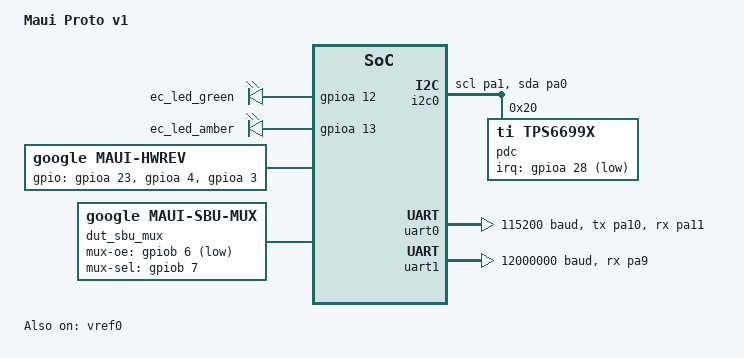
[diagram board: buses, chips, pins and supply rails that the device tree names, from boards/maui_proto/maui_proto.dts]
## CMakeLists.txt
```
# Copyright 2025 The ChromiumOS Authors
# Use of this source code is governed by a BSD-style license that can be
# found in the LICENSE file.

cmake_minimum_required(VERSION 3.20.0)

list(APPEND BOARD_ROOT ${CMAKE_CURRENT_SOURCE_DIR})
if(NOT DEFINED BOARD)
	set(BOARD maui_proto_3507)
endif()

# Application-only devicetree additions live in boards/<board>.overlay. Zephyr
# applies that file automatically only when DTC_OVERLAY_FILE is unset; the
# MCUboot build flow sets it (app_mcuboot.overlay), so add it explicitly then.
set(MAUI_APP_OVERLAY ${CMAKE_CURRENT_SOURCE_DIR}/boards/${BOARD}.overlay)
if(DEFINED DTC_OVERLAY_FILE AND EXISTS ${MAUI_APP_OVERLAY})
	list(APPEND EXTRA_DTC_OVERLAY_FILE ${MAUI_APP_OVERLAY})
endif()

find_package(Zephyr REQUIRED HINTS $ENV{ZEPHYR_BASE})
project(maui)

# Machine-to-machine RPC (second CDC-ACM interface). The core lives in
# src/rpc/rpc.c; each functional domain adds its own src/rpc/rpc_<domain>.c.
if(CONFIG_MAUI_RPC)
	list(APPEND CMAKE_MODULE_PATH ${ZEPHYR_BASE}/modules/nanopb)
	include(nanopb)
	zephyr_nanopb_sources(app proto/maui_rpc.proto)
	zephyr_linker_sources(ROM_SECTIONS src/rpc/rpc_handlers.ld)
	target_sources(app PRIVATE
		src/rpc/rpc.c
		src/rpc/rpc_system.c
	)
	target_sources_ifdef(CONFIG_MAUI_RPC_H2H app PRIVATE src/rpc/rpc_h2h.c)
endif()

# Safely override missing IOMUX definition for 48-pin package in the standard GPIO driver (only for maui_proto_5117)
if(BOARD STREQUAL "maui_proto_5117")
	zephyr_compile_definitions(IOMUX_PINCM60=IOMUX_PINCM59)
endif()

if(CONFIG_ADC_MSPM0_ADC12_WIP)
	target_sources(app PRIVATE drivers/adc_mspm0_adc12_wip.c)
endif()

if(CONFIG_ADC)
	target_sources(app PRIVATE src/adc.c)
endif()

# IT82002-only subsystems: BBRAM-backed boot health and the NVS key-value
# store. Gated so the MSPM0 boards, which have neither, do not build them.
if(CONFIG_MAUI_HEALTH)
	target_sources(app PRIVATE src/health.c)
endif()

if(CONFIG_MAUI_NVS_STORAGE)
	target_sources(app PRIVATE src/nvs_storage.c)
endif()

if(CONFIG_MAUI_HOST_MUX)
	target_sources(app PRIVATE src/host_mux.c)
endif()

if(CONFIG_MAUI_H2H_FLASH)
	target_sources(app PRIVATE src/h2h_flash.c)
endif()

target_sources(app PRIVATE
	src/bypass.c
	src/commands.c
	src/gpio.c
	src/gpio_shell.c
	src/hwrev.c
	src/led.c
	src/main.c
	src/sbu_mux.c
	src/tps6699x.c
	src/tps6699x_fwup.c
	src/usb_init.c
	src/utils.c
)
```

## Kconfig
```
# Copyright 2026 The ChromiumOS Authors
# Use of this source code is governed by a BSD-style license that can be
# found in the LICENSE file.

config PDC_DEBUG
	bool "Enable debug messages from PDC"
	depends on UART_INTERRUPT_DRIVEN

config TPS6699X_INTERRUPTS
	bool "Enable TPS6699X interrupt handling"
	default n

choice SBU_MUX_TYPE
	bool "Type of mux for SBU lanes"

config SBU_MUX_TYPE_PDC
	bool "PDC as SBU lanes mux"

config SBU_MUX_TYPE_GPIO
	bool "GPIO as SBU lanes mux"

endchoice

config SBU_MUX_INIT_DELAY
	int "Delay between bootup and polling in milliseconds"
	default 300

config SBU_MUX_PERIOD
	int "Period of reading the SBU lanes in milliseconds"
	default 100

config HOST_MUX_INIT_DELAY
	int "Delay between bootup and polling in milliseconds"
	default 10

config HOST_MUX_PERIOD
	int "Period of reading the Host CC lanes in milliseconds"
	default 20

config HOST_MUX_HIGH_THRESH
	int "Lower voltage threshold to treat signal as high (millivolts)"
	default 200

config HOST_MUX_SEL_INVERTED
	bool "USB3 host mux SEL polarity is inverted"
	default y if BOARD_MAUI_V1P2_IT82002
	default y if BOARD_MAUI_V2P0_IT82002
	help
	  By default USB3_MUX_HOST_SEL is driven low for CC1 (normal) and high
	  for CC2 (flipped) orientation. Enable this on boards where the mux
	  is wired the other way round, so CC1 drives SEL high and CC2 drives
	  it low. maui_v1p2_it82002 needs this (verified on hardware).

config MAUI_HOST_MUX
	bool "Automatic USB host mux / hub control"
	default y
	help
	  Polls the Host CC lanes and drives HUB_RESET_L and the USB3 host mux
	  select/output-enable lines accordingly.

	  On maui_v1p2_it82002 the EC's own USB device reaches the host through
	  that hub, so a mis-detected CC state also takes down the console and
	  the firmware-update path. Recovery then needs the RO/RW bootloaders,
	  which do not run this module.

config MAUI_H2H_FLASH
	bool "H2H bridge (PL27A1) SPI flash access"
	default y if BOARD_MAUI_V1P2_IT82002
	default y if BOARD_MAUI_V2P0_IT82002
	depends on SPI
	help
	  Lets the MCU take over the PL27A1 H2H bridge's SPI flash (holding the
	  bridge in reset and switching the flash mux) and adds the h2h_flash
	  shell commands. Only boards with the EC-side SPI bus and flash mux
	  wired up support this.

config GPIO_INIT_PRIORITY
	int "GPIO subsystem init priority"
	default 89

config MAUI_HEALTH
	bool "Boot health monitoring, crashloop counter and ETWD reset"
	default y if SOC_IT82002AW
	help
	  Boot-target selection and the crashloop counter in BBRAM, the ETWD
	  hardware reset used by 'reboot'/'reset', and the 'health' shell
	  command group.

	  Only maui_v1p2_it82002 has the BBRAM and the 3-stage bootloader chain
	  this depends on; the MSPM0 boards fall back to sys_reboot().

config MAUI_NVS_STORAGE
	bool "NVS-backed persistent storage (serial number, boot target)"
	default y if SOC_IT82002AW
	depends on NVS
	help
	  Backs the 'serial get'/'serial set' shell commands and the USB serial
	  number reported by all three boot stages.

	  Requires a 'storage_partition' node, which only maui_v1p2_it82002
	  defines.

config MAUI_HEALTH_FLASH_DIAGNOSTICS
	bool "Enable destructive flash-protection diagnostics in the health shell"
	depends on MAUI_HEALTH && SOC_IT82002AW
	default y
	help
	  Adds 'health test_flash_protect', 'health lock_eplr' and
	  'health probe_eplr'.

	  These are bring-up tools that manipulate hardware write protection
	  directly. test_flash_protect deliberately erases and rewrites
	  bootloader sectors to prove the hardware blocks it; if protection is
	  ever not armed, that attack succeeds and destroys both bootloaders,
	  leaving the board recoverable only with an external programmer. It
	  does check the EWPR registers and abort first, but that check is only
	  as good as our understanding of the silicon.

	  Turn this off for production images. 'health status' stays available
	  and reports the same protection state non-destructively.

config MAUI_H2H_SPI_FREQUENCY
	int "SPI clock for the Prolific PL27A1 H2H flash (Hz)"
	default 12000000
	help
	  Must be an exact divisor (/1, /2 ... /16) of the SSPI source clock
	  on IT8xxx2, otherwise transfers fail with -ENOTSUP.
	  TODO: 12 MHz is the conservative choice. Try 24 MHz on real hardware
	  (signal integrity of the mux path); it would shorten program and
	  verify by roughly 10% for a 1 MB image.

menuconfig MAUI_RPC
	bool "Machine-to-machine RPC over a second USB CDC-ACM interface"
	select NANOPB
	select COBS
	select RING_BUFFER
	help
	  Exposes a second CDC-ACM interface ("Maui RPC") that carries
	  COBS-framed Nanopb messages defined in proto/maui_rpc.proto, for
	  host automation and maui-flash (go/maui-ite-design). Needs a
	  'cdc_acm_uart1' devicetree node, the nanopb west module,
	  USB_DEVICE_STACK_NEXT and UART_INTERRUPT_DRIVEN.

if MAUI_RPC

config MAUI_RPC_RX_BUF_SIZE
	int "RX ring buffer size"
	default 16384
	help
	  Bytes buffered between the USB callback and the RPC thread. Large
	  enough for several maximum-size frames so the host can pipeline
	  requests while a handler (e.g. a flash write) is running.

config MAUI_RPC_TX_BUF_SIZE
	int "TX ring buffer size"
	default 2048

config MAUI_RPC_TX_TIMEOUT_MS
	int "Give up sending after the host stops reading for this long (ms)"
	default 1000

config MAUI_RPC_STACK_SIZE
	int "RPC thread stack size"
	default 3072

config MAUI_RPC_THREAD_PRIORITY
	int "RPC thread priority"
	default 10

config MAUI_RPC_H2H
	bool "RPC h2h domain: read and program the PL27A1 bridge SPI flash"
	default y
	depends on MAUI_H2H_FLASH
	select CRC
	help
	  H2hBegin/Write/Finish, H2hReadBegin/Read/ReadEnd, H2hAbort and
	  H2hInfo requests, used by 'maui-flash h2h'. See the h2h section of
	  proto/maui_rpc.proto.

config MAUI_RPC_H2H_IDLE_TIMEOUT_MS
	int "Release the H2H SPI bus after an idle session (ms)"
	depends on MAUI_RPC_H2H
	default 10000
	help
	  If the host stops sending requests in the middle of an H2H read or
	  flashing session (e.g. it crashed), the session is ended and the SPI
	  flash is handed back to the PL27A1 after this long.

module = MAUI_RPC
module-str = maui_rpc
source "subsys/logging/Kconfig.template.log_config"

endif # MAUI_RPC

config MAUI_BOARD_NAME
	string "Maui board name"
	default "Maui"
	help
	  Board name used by USB device name

source "Kconfig.zephyr"
```

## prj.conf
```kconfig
# Copyright 2025 The ChromiumOS Authors
# Use of this source code is governed by a BSD-style license that can be
# found in the LICENSE file.

CONFIG_GPIO=y

CONFIG_I2C=y
CONFIG_ADC=y
# enable logs
CONFIG_LOG=y
# enable shell
CONFIG_SHELL=y
CONFIG_SHELL_TAB=y
CONFIG_SHELL_TAB_AUTOCOMPLETION=y
CONFIG_SHELL_BACKEND_SERIAL_INTERRUPT_DRIVEN=y
CONFIG_SHELL_BACKEND_SERIAL_RX_RING_BUFFER_SIZE=256
CONFIG_SHELL_PROMPT_UART="maui$ "
CONFIG_I2C_SHELL=y
# enable state machine framework
#CONFIG_SMF=y
# enable LED API
CONFIG_LED=y
# enable system reboot
CONFIG_REBOOT=y

CONFIG_SERIAL=y
CONFIG_CONSOLE=y
CONFIG_UART_CONSOLE=y
CONFIG_CLOCK_CONTROL=y

CONFIG_REGULATOR=y # This should have been selected by adc driver

CONFIG_LOG_BUFFER_SIZE=2048

# Enable Base64 for TPS FW update
CONFIG_BASE64=y

CONFIG_SBU_MUX_TYPE_PDC=y

CONFIG_TPS6699X_INTERRUPTS=y
```

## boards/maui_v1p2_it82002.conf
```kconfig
# Copyright 2026 The ChromiumOS Authors
# Use of this source code is governed by a BSD-style license that can be
# found in the LICENSE file.

# Application-only configuration for maui_v1p2_it82002.
#
# Zephyr merges <app>/boards/<board>.conf only when building THIS application
# (firmware/), so nothing here leaks into the MCUboot RO/RW Bootloader builds
# the way board defconfig entries do. Only genuine hardware/SoC defaults that
# every image on this board needs belong in
# boards/maui_v1p2_it82002/maui_v1p2_it82002_defconfig.

# Peripherals used by the Application only. Leaving these in the board
# defconfig pulled I2C into the bootloaders, which explicitly disable it, and
# produced "I2C was assigned the value n but got the value y" Kconfig warnings.
CONFIG_GPIO_GET_CONFIG=y

CONFIG_ADC=y
CONFIG_ADC_ITE_IT8XXX2=y
CONFIG_SPI=y
# CRC-32 of the H2H (PL27A1) SPI flash contents, used to verify programming.
CONFIG_CRC=y
CONFIG_SENSOR=y
CONFIG_TMP112=y
CONFIG_WATCHDOG=y

# USB device_next stack. The bootloaders cannot use it: MCUboot's
# CONFIG_BOOT_SERIAL_CDC_ACM does "select USB_DEVICE_STACK" (the legacy stack)
# unconditionally and has no device_next backend, so enabling both stacks in a
# bootloader build results in duplicate CDC-ACM device definitions.
CONFIG_USB_DEVICE_STACK_NEXT=y
CONFIG_UDC_IT82XX2=y
CONFIG_USBD_CDC_ACM_CLASS=y
CONFIG_USBD_CDC_ACM_BUF_POOL=y
CONFIG_USBD_THREAD_STACK_SIZE=1024
CONFIG_UART_LINE_CTRL=y
CONFIG_CDC_ACM_SERIAL_INITIALIZE_AT_BOOT=n

# Shell runs over the CDC-ACM console, so hold output until a host opens the
# port. The bootloaders have no shell, hence this is not a board default.
CONFIG_SHELL_BACKEND_SERIAL_CHECK_DTR=y

CONFIG_SYSTEM_WORKQUEUE_STACK_SIZE=2048
CONFIG_IDLE_STACK_SIZE=1024

# Machine-to-machine RPC on the second CDC-ACM interface ("Maui RPC", added by
# boards/maui_v1p2_it82002.overlay).
CONFIG_MAUI_RPC=y

CONFIG_MAUI_BOARD_NAME="Maui v1p2"
```

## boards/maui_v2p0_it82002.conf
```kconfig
# Copyright 2026 The ChromiumOS Authors
# Use of this source code is governed by a BSD-style license that can be
# found in the LICENSE file.

# Application-only configuration for maui_v2p0_it82002.
#
# Zephyr merges <app>/boards/<board>.conf only when building THIS application
# (firmware/), so nothing here leaks into the MCUboot RO/RW Bootloader builds
# the way board defconfig entries do. Only genuine hardware/SoC defaults that
# every image on this board needs belong in
# boards/maui_v2p0_it82002/maui_v2p0_it82002_defconfig.

# Peripherals used by the Application only. Leaving these in the board
# defconfig pulled I2C into the bootloaders, which explicitly disable it, and
# produced "I2C was assigned the value n but got the value y" Kconfig warnings.
CONFIG_GPIO_GET_CONFIG=y

CONFIG_ADC=y
CONFIG_ADC_ITE_IT8XXX2=y
CONFIG_SPI=y
# CRC-32 of the H2H (PL27A1) SPI flash contents, used to verify programming.
CONFIG_CRC=y
CONFIG_SENSOR=y
CONFIG_TMP112=y
CONFIG_WATCHDOG=y

# USB device_next stack. The bootloaders cannot use it: MCUboot's
# CONFIG_BOOT_SERIAL_CDC_ACM does "select USB_DEVICE_STACK" (the legacy stack)
# unconditionally and has no device_next backend, so enabling both stacks in a
# bootloader build results in duplicate CDC-ACM device definitions.
CONFIG_USB_DEVICE_STACK_NEXT=y
CONFIG_UDC_IT82XX2=y
CONFIG_USBD_CDC_ACM_CLASS=y
CONFIG_USBD_CDC_ACM_BUF_POOL=y
CONFIG_USBD_THREAD_STACK_SIZE=1024
CONFIG_UART_LINE_CTRL=y
CONFIG_CDC_ACM_SERIAL_INITIALIZE_AT_BOOT=n

# Shell runs over the CDC-ACM console, so hold output until a host opens the
# port. The bootloaders have no shell, hence this is not a board default.
CONFIG_SHELL_BACKEND_SERIAL_CHECK_DTR=y

CONFIG_SYSTEM_WORKQUEUE_STACK_SIZE=2048
CONFIG_IDLE_STACK_SIZE=1024

# Machine-to-machine RPC on the second CDC-ACM interface ("Maui RPC", added by
# boards/maui_v2p0_it82002.overlay).
CONFIG_MAUI_RPC=y

CONFIG_MAUI_BOARD_NAME="Maui v2p0"
```

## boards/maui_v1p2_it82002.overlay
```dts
/* Copyright 2026 The ChromiumOS Authors
 * Use of this source code is governed by a BSD-style license that can be
 * found in the LICENSE file.
 */

/*
 * Application-only devicetree additions for maui_v1p2_it82002.
 *
 * Kept out of the board .dts because the MCUboot RO/RW bootloaders build from
 * that .dts too and must expose only their single serial-recovery interface.
 * firmware/CMakeLists.txt applies this overlay to every Application build.
 */

/* Interface strings let host tools tell the two ports apart (pyserial
 * ListPortInfo.interface) without relying on enumeration order.
 */
&cdc_acm_uart0 {
	label = "Maui Console";
};

&zephyr_udc0 {
	/* Machine-to-machine RPC channel (go/maui-ite-design). */
	cdc_acm_uart1: cdc_acm_uart1 {
		compatible = "zephyr,cdc-acm-uart";
		label = "Maui RPC";
		rx-fifo-size = <2048>;
	};
};
```

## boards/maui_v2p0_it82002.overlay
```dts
/* Copyright 2026 The ChromiumOS Authors
 * Use of this source code is governed by a BSD-style license that can be
 * found in the LICENSE file.
 */

/*
 * Application-only devicetree additions for maui_v2p0_it82002.
 *
 * Kept out of the board .dts because the MCUboot RO/RW bootloaders build from
 * that .dts too and must expose only their single serial-recovery interface.
 * firmware/CMakeLists.txt applies this overlay to every Application build.
 */

/* Interface strings let host tools tell the two ports apart (pyserial
 * ListPortInfo.interface) without relying on enumeration order.
 */
&cdc_acm_uart0 {
	label = "Maui Console";
};

&zephyr_udc0 {
	/* Machine-to-machine RPC channel (go/maui-ite-design). */
	cdc_acm_uart1: cdc_acm_uart1 {
		compatible = "zephyr,cdc-acm-uart";
		label = "Maui RPC";
		rx-fifo-size = <2048>;
	};
};
```

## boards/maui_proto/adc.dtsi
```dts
#include <zephyr/dt-bindings/adc/adc.h>

&adc0 {
	compatible = "ti,mspm0-adc12-wip";
	status = "okay";
	#address-cells = <1>;
	#size-cells = <0>;

	pinctrl-0 = <&analog_pb20 &analog_pa22>;
	pinctrl-names = "default";
	ti,clk-range = <6>;
	ti,clk-divider = <1>;

	clocks = <&ulpclk MSPM0_CLOCK_ULPCLK>;
	vref-mv = <3300>;
	max_result_reg = <12>;

	adc_usb_host_cc1: channel@6 {
		reg = <6>;
		zephyr,gain = "ADC_GAIN_1";
		zephyr,reference = "ADC_REF_VDD_1";
		zephyr,vref-mv = <3300>;
		zephyr,acquisition-time = <ADC_ACQ_TIME_DEFAULT>;
		zephyr,resolution = <12>;
	};

	adc_usb_host_cc2: channel@7 {
		reg = <7>;
		zephyr,gain = "ADC_GAIN_1";
		zephyr,reference = "ADC_REF_VDD_1";
		zephyr,vref-mv = <3300>;
		zephyr,acquisition-time = <ADC_ACQ_TIME_DEFAULT>;
		zephyr,resolution = <12>;
	};

	adc_temp_sensor: channel@b {
		reg = <0xb>;
		zephyr,gain = "ADC_GAIN_1";
		zephyr,reference = "ADC_REF_VDD_1";
		zephyr,vref-mv = <3300>;
		zephyr,acquisition-time =
			<ADC_ACQ_TIME(ADC_ACQ_TIME_TICKS, 200)>;
		zephyr,resolution = <12>;
	};
};

&adc1 {
	compatible = "ti,mspm0-adc12-wip";
	status = "okay";
	#address-cells = <1>;
	#size-cells = <0>;
	clocks = <&ulpclk MSPM0_CLOCK_ULPCLK>;

	max_result_reg = <12>;
	pinctrl-0 = <&analog_pa16 &analog_pa17 &analog_pa18 &analog_pb17
		     &analog_pb18 &analog_pb19 &analog_pa21>;
	pinctrl-names = "default";
	ti,clk-range = <6>;
	ti,clk-divider = <1>;
	vref-mv = <3300>;

	adc_sbu1_det: channel@1 {
		reg = <1>;
		zephyr,gain = "ADC_GAIN_1";
		zephyr,reference = "ADC_REF_VDD_1";
		zephyr,vref-mv = <3300>;
		zephyr,acquisition-time = <ADC_ACQ_TIME_DEFAULT>;
		zephyr,resolution = <12>;
	};
	adc_sbu2_det: channel@2 {
		reg = <2>;
		zephyr,gain = "ADC_GAIN_1";
		zephyr,reference = "ADC_REF_VDD_1";
		zephyr,vref-mv = <3300>;
		zephyr,acquisition-time = <ADC_ACQ_TIME_DEFAULT>;
		zephyr,resolution = <12>;
	};
	adc_bsl: channel@3 {
		reg = <3>;
		zephyr,gain = "ADC_GAIN_1";
		zephyr,reference = "ADC_REF_VDD_1";
		zephyr,vref-mv = <3300>;
		zephyr,acquisition-time = <ADC_ACQ_TIME_DEFAULT>;
		zephyr,resolution = <12>;
	};
	adc_ppvar_usb_chg_vbus: channel@4 {
		reg = <4>;
		zephyr,gain = "ADC_GAIN_1";
		zephyr,reference = "ADC_REF_VDD_1";
		zephyr,vref-mv = <3300>;
		zephyr,acquisition-time = <ADC_ACQ_TIME_DEFAULT>;
		zephyr,resolution = <12>;
	};
	adc_ppvar_usb_dut_vbus: channel@5 {
		reg = <5>;
		zephyr,gain = "ADC_GAIN_1";
		zephyr,reference = "ADC_REF_VDD_1";
		zephyr,vref-mv = <3300>;
		zephyr,acquisition-time = <ADC_ACQ_TIME_DEFAULT>;
		zephyr,resolution = <12>;
	};
	adc_pp5000_usb_host_vbus: channel@6 {
		reg = <6>;
		zephyr,gain = "ADC_GAIN_1";
		zephyr,reference = "ADC_REF_VDD_1";
		zephyr,vref-mv = <3300>;
		zephyr,acquisition-time = <ADC_ACQ_TIME_DEFAULT>;
		zephyr,resolution = <12>;
	};
	adc_pp5000: channel@7 {
		reg = <7>;
		zephyr,gain = "ADC_GAIN_1";
		zephyr,reference = "ADC_REF_VDD_1";
		zephyr,vref-mv = <3300>;
		zephyr,acquisition-time = <ADC_ACQ_TIME_DEFAULT>;
		zephyr,resolution = <12>;
	};
};
```

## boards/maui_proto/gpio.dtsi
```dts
/* Copyright 2026 The ChromiumOS Authors
 * Use of this source code is governed by a BSD-style license that can be
 * found in the LICENSE file.
 */

#include "gpio_ext.h"

/ {
	gpios {
		compatible = "google,maui-gpios";

		// Outputs

		h2h_reset: h2h_reset_l {
			gpios = <&gpioa 31 (GPIO_OUTPUT_INACTIVE | GPIO_ACTIVE_LOW)>;
		};

		usb2_mux_hub_oe_l: usb2_mux_hub_oe_l {
			gpios = <&gpiob 6 (GPIO_OUTPUT_ACTIVE | GPIO_ACTIVE_LOW)>;
		};

		usb2_mux_hub_sel: usb2_mux_hub_sel {
			gpios = <&gpiob 7 (GPIO_OUTPUT_INACTIVE | GPIO_ACTIVE_HIGH)>;
		};

		usb3_mux_dut_oe: usb3_mux_dut_oe_r_l {
			gpios = <&gpiob 8 (GPIO_OUTPUT_ACTIVE | GPIO_ACTIVE_LOW)>;
		};

		usb3_mux_dut_sel: usb3_mux_dut_sel_r {
			gpios = <&gpiob 9 (GPIO_OUTPUT_INACTIVE | GPIO_ACTIVE_HIGH)>;
		};

		usb2_mux_dut_oe: usb2_mux_dut_oe_r_l {
			gpios = <&gpiob 10 (GPIO_OUTPUT_ACTIVE | GPIO_ACTIVE_LOW)>;
		};

		usb2_mux_dut_sel: usb2_mux_dut_sel_r {
			gpios = <&gpiob 11 (GPIO_OUTPUT_INACTIVE | GPIO_ACTIVE_HIGH)>;
		};

		pp5000_cutoff: pp5000_cutoff {
			gpios = <&gpiob 12 (GPIO_OUTPUT_INACTIVE | GPIO_ACTIVE_HIGH)>;
		};

		usb3_mux_hub_oe_l: usb3_mux_hub_oe_l {
			gpios = <&gpiob 15 (GPIO_OUTPUT_ACTIVE | GPIO_ACTIVE_LOW)>;
		};

		usb3_mux_hub_sel: usb3_mux_hub_sel {
			gpios = <&gpiob 16 (GPIO_OUTPUT_INACTIVE | GPIO_ACTIVE_HIGH)>;
		};

		usb3_mux_host_oe: usb3_mux_host_oe_r_l {
			gpios = <&gpiob 21 (GPIO_OUTPUT_INACTIVE | GPIO_ACTIVE_LOW)>;
		};

		usb3_mux_host_sel: usb3_mux_host_sel_r {
			gpios = <&gpiob 22 (GPIO_OUTPUT_INACTIVE | GPIO_ACTIVE_HIGH)>;
		};

		hub_reset: hub_reset_l {
			gpios = <&gpiob 26 (GPIO_OUTPUT_INACTIVE | GPIO_ACTIVE_LOW)>;
		};

		// Inputs

		h2h_host_access_led_l: h2h_host_access_led_l {
			gpios = <&gpioa 7 (GPIO_INPUT | GPIO_ACTIVE_LOW)>;
		};

		h2h_dut_access_led_l: h2h_dut_access_led_l {
			gpios = <&gpioa 8 (GPIO_INPUT | GPIO_ACTIVE_LOW)>;
		};

		hub_ss_up_status: hub_ss_up_status {
			gpios = <&gpioa 24 (GPIO_INPUT | GPIO_ACTIVE_HIGH)>;
		};

		hub_hs_up_status: hub_hs_up_status {
			gpios = <&gpioa 25 (GPIO_INPUT | GPIO_ACTIVE_HIGH)>;
		};

		hub_ss_suspend: hub_ss_suspend {
			gpios = <&gpioa 29 (GPIO_INPUT | GPIO_ACTIVE_HIGH)>;
		};

		pdc_hi_priority_irq_l: pdc_hi_priority_irq_l {
			gpios = <&gpioa 30 (GPIO_INPUT | GPIO_ACTIVE_LOW)>;
		};

		pp3300_ec_status: pp3300_ec_status {
			gpios = <&gpiob 0 (GPIO_INPUT | GPIO_ACTIVE_HIGH)>;
		};

		h2h_dut_host_access_led_l: h2h_dut_host_access_led_l {
			gpios = <&gpiob 1 (GPIO_INPUT | GPIO_ACTIVE_LOW)>;
		};

		pdc_gpio8: pdc_gpio8 {
			gpios = <&gpiob 2 (GPIO_INPUT | GPIO_ACTIVE_HIGH)>;
		};

		pdc_gpio9: pdc_gpio9 {
			gpios = <&gpiob 3 (GPIO_INPUT | GPIO_ACTIVE_HIGH)>;
		};

		pdc_gpio10: pdc_gpio10 {
			gpios = <&gpiob 4 (GPIO_INPUT | GPIO_ACTIVE_HIGH)>;
		};

		pdc_gpio11: pdc_gpio11 {
			gpios = <&gpiob 5 (GPIO_INPUT | GPIO_ACTIVE_HIGH)>;
		};

		pp1200_pg_od: pp1200_pg_od {
			gpios = <&gpiob 13 (GPIO_INPUT | GPIO_PULL_UP | GPIO_ACTIVE_HIGH)>;
		};

		pp3300_pg_od: pp3300_pg_od {
			gpios = <&gpiob 14 (GPIO_INPUT | GPIO_PULL_UP | GPIO_ACTIVE_HIGH)>;
		};

		pp1100_pg_od: pp1100_pg_od {
			gpios = <&gpiob 23 (GPIO_INPUT | GPIO_PULL_UP | GPIO_ACTIVE_HIGH)>;
		};

		hub_hs_suspend: hub_hs_suspend {
			gpios = <&gpiob 25 (GPIO_INPUT | GPIO_ACTIVE_HIGH)>;
		};
	};
};
```

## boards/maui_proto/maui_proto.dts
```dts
/* Copyright 2025 The ChromiumOS Authors
 * Use of this source code is governed by a BSD-style license that can be
 * found in the LICENSE file.
 */

/dts-v1/;

#include <ti/mspm0/g/mspm0g3507.dtsi>
#include <ti/mspm0/g/mspm0g1x0x_g3x0x-pinctrl.dtsi>

#include <zephyr/dt-bindings/clock/mspm0_clock.h>
#include <zephyr/dt-bindings/gpio/gpio.h>
#include <zephyr/dt-bindings/input/input-event-codes.h>

#include "adc.dtsi"
#include "gpio.dtsi"

/ {
	model = "Maui Proto v1";
	compatible = "ti,mspm0g3507";

	chosen {
		zephyr,sram = &sram0;
		zephyr,flash = &flash0;
		zephyr,console = &uart0;
		zephyr,shell-uart = &uart0;
	};

	leds: leds {
		compatible = "gpio-leds";

		ec_led_green: ec_led_green {
			gpios = <&gpioa 12 GPIO_ACTIVE_HIGH>;
		};
		ec_led_amber: ec_led_amber {
			gpios = <&gpioa 13 GPIO_ACTIVE_HIGH>;
		};
	};

	hwrev {
		compatible = "google,maui-hwrev";
		gpios = <&gpioa 23 GPIO_ACTIVE_HIGH>,
				<&gpioa 4 GPIO_ACTIVE_HIGH>,
				<&gpioa 3 GPIO_ACTIVE_HIGH>;
	};

	dut_sbu_mux: dut-sbu-mux {
		compatible = "google,maui-sbu-mux";
		status = "okay";

		pdc = <&pdc>;
		mux-oe-gpios = <&gpiob 6 GPIO_ACTIVE_LOW>;
		mux-sel-gpios = <&gpiob 7 GPIO_ACTIVE_HIGH>;
	};
};

&cpu0 {
	clock-frequency = <DT_FREQ_M(80)>;
};

&ulpclk {
	clock-frequency = <DT_FREQ_M(40)>;
	clk-div = <2>;
};

&mclk {
	clock-frequency = <DT_FREQ_M(80)>;
	clocks = <&hsclk 0>;
};

&hsclk {
	clocks = <&syspll2x 0>;
	status = "okay";
};

&syspll2x {
	status = "okay";
};

&flash0 {
	status = "okay";
};

&pinctrl {
	status = "okay";
};

&gpioa {
	status = "okay";
};

&gpiob {
	status = "okay";
};

&i2c0 {
	pinctrl-0 = <&i2c0_scl_pa1 &i2c0_sda_pa0>;
	pinctrl-names = "default";
	status = "okay";

	pdc: tps6699x@20 {
		compatible = "ti,tps6699x";
		reg = <0x20>;
		irq-gpios = <&gpioa 28 (GPIO_PULL_UP | GPIO_ACTIVE_LOW)>;
	};
};

&uart0 {
	status = "okay";

	current-speed = <115200>;
	pinctrl-0 = <&uart0_tx_pa10 &uart0_rx_pa11>;
	pinctrl-names = "default";
};

&uart1 {
	status = "okay";
	current-speed = <12000000>;
	pinctrl-0 = <&uart1_rx_pa9>;
	pinctrl-names = "default";
};

&vref0 {
	status = "okay";
};
```

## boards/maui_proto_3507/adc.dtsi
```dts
/* Copyright 2026 The ChromiumOS Authors
 * Use of this source code is governed by a BSD-style license that can be
 * found in the LICENSE file.
 */

#include <zephyr/dt-bindings/adc/adc.h>

&adc0 {
	compatible = "ti,mspm0-adc12-wip";
	status = "okay";
	#address-cells = <1>;
	#size-cells = <0>;

	pinctrl-0 = <&analog_pb20 &analog_pa22>;
	pinctrl-names = "default";
	ti,clk-range = <6>;
	ti,clk-divider = <1>;

	clocks = <&ulpclk MSPM0_CLOCK_ULPCLK>;
	vref-mv = <3300>;
	max_result_reg = <12>;

	adc_usb_host_cc1: channel@6 {
		reg = <6>;
		zephyr,gain = "ADC_GAIN_1";
		zephyr,reference = "ADC_REF_VDD_1";
		zephyr,vref-mv = <3300>;
		zephyr,acquisition-time = <ADC_ACQ_TIME_DEFAULT>;
		zephyr,resolution = <12>;
	};

	adc_usb_host_cc2: channel@7 {
		reg = <7>;
		zephyr,gain = "ADC_GAIN_1";
		zephyr,reference = "ADC_REF_VDD_1";
		zephyr,vref-mv = <3300>;
		zephyr,acquisition-time = <ADC_ACQ_TIME_DEFAULT>;
		zephyr,resolution = <12>;
	};

	adc_temp_sensor: channel@b {
		reg = <0xb>;
		zephyr,gain = "ADC_GAIN_1";
		zephyr,reference = "ADC_REF_VDD_1";
		zephyr,vref-mv = <3300>;
		zephyr,acquisition-time =
			<ADC_ACQ_TIME(ADC_ACQ_TIME_TICKS, 200)>;
		zephyr,resolution = <12>;
	};
};

&adc1 {
	compatible = "ti,mspm0-adc12-wip";
	status = "okay";
	#address-cells = <1>;
	#size-cells = <0>;
	clocks = <&ulpclk MSPM0_CLOCK_ULPCLK>;

	max_result_reg = <12>;
	pinctrl-0 = <&analog_pa16 &analog_pa17 &analog_pa18 &analog_pb17
		     &analog_pb18 &analog_pb19 &analog_pa21>;
	pinctrl-names = "default";
	ti,clk-range = <6>;
	ti,clk-divider = <1>;
	vref-mv = <3300>;

	adc_sbu1_det: channel@1 {
		reg = <1>;
		zephyr,gain = "ADC_GAIN_1";
		zephyr,reference = "ADC_REF_VDD_1";
		zephyr,vref-mv = <3300>;
		zephyr,acquisition-time = <ADC_ACQ_TIME_DEFAULT>;
		zephyr,resolution = <12>;
	};
	adc_sbu2_det: channel@2 {
		reg = <2>;
		zephyr,gain = "ADC_GAIN_1";
		zephyr,reference = "ADC_REF_VDD_1";
		zephyr,vref-mv = <3300>;
		zephyr,acquisition-time = <ADC_ACQ_TIME_DEFAULT>;
		zephyr,resolution = <12>;
	};
	adc_bsl: channel@3 {
		reg = <3>;
		zephyr,gain = "ADC_GAIN_1";
		zephyr,reference = "ADC_REF_VDD_1";
		zephyr,vref-mv = <3300>;
		zephyr,acquisition-time = <ADC_ACQ_TIME_DEFAULT>;
		zephyr,resolution = <12>;
	};
	adc_ppvar_usb_chg_vbus: channel@4 {
		reg = <4>;
		zephyr,gain = "ADC_GAIN_1";
		zephyr,reference = "ADC_REF_VDD_1";
		zephyr,vref-mv = <3300>;
		zephyr,acquisition-time = <ADC_ACQ_TIME_DEFAULT>;
		zephyr,resolution = <12>;
	};
	adc_ppvar_usb_dut_vbus: channel@5 {
		reg = <5>;
		zephyr,gain = "ADC_GAIN_1";
		zephyr,reference = "ADC_REF_VDD_1";
		zephyr,vref-mv = <3300>;
		zephyr,acquisition-time = <ADC_ACQ_TIME_DEFAULT>;
		zephyr,resolution = <12>;
	};
	adc_pp5000_usb_host_vbus: channel@6 {
		reg = <6>;
		zephyr,gain = "ADC_GAIN_1";
		zephyr,reference = "ADC_REF_VDD_1";
		zephyr,vref-mv = <3300>;
		zephyr,acquisition-time = <ADC_ACQ_TIME_DEFAULT>;
		zephyr,resolution = <12>;
	};
	adc_pp5000: channel@7 {
		reg = <7>;
		zephyr,gain = "ADC_GAIN_1";
		zephyr,reference = "ADC_REF_VDD_1";
		zephyr,vref-mv = <3300>;
		zephyr,acquisition-time = <ADC_ACQ_TIME_DEFAULT>;
		zephyr,resolution = <12>;
	};
};
```

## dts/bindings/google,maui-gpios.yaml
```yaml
# Copyright 2026 The ChromiumOS Authors
# Use of this source code is governed by a BSD-style license that can be
# found in the LICENSE file.

description: Google MAUI GPIOs

compatible: "google,maui-gpios"

include: base.yaml

child-binding:
  description: |
    List of GPIOs to configure at bootup

  properties:
    gpios:
      type: phandle-array
      description: |
        Definition of GPIO's port and pin number with flags
        supporting setting logic states at bootup
```

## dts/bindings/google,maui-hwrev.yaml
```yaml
# Copyright 2026 The ChromiumOS Authors
# Use of this source code is governed by a BSD-style license that can be
# found in the LICENSE file.

description: Google MAUI Hardware Revision Id

compatible: "google,maui-hwrev"

include: base.yaml

properties:
  gpios:
    type: phandle-array
    required: true
    description: |
      GPIOs used to decode the hardware revision id. Pins should be in
      MSB to LSB order.
```

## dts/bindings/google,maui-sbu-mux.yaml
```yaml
# Copyright 2026 The ChromiumOS Authors
# Use of this source code is governed by a BSD-style license that can be
# found in the LICENSE file.

description: Google MAUI mux for CCD SBU pins

compatible: "google,maui-sbu-mux"

include: base.yaml

properties:
  pdc:
    type: phandle

  mux-oe-gpios:
    type: phandle-array
    description: |
      Mux output enable pin

  mux-sel-gpios:
    type: phandle-array
    description: |
      Mux polarity selection pin

  low-thresh:
    type: int
    default: 700
    description: |
      Upper voltage threshold to threat signal as low

  high-thresh:
    type: int
    default: 2500
    description: |
      Lower voltage threshold to threat signal as high
```

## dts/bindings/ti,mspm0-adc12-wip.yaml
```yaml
# TI MSPM0 Family

# Copyright (c) 2024, Texas Instruments
# Copyright (c) 2025, Linumiz GmbH
# SPDX-License-Identifier: Apache-2.0

description: TI MSPM0 ADC12

compatible: "ti,mspm0-adc12-wip"

include: [adc-controller.yaml, pinctrl-device.yaml]

properties:
  reg:
    required: true

  interrupts:
    required: true

  pinctrl-0:
    required: true

  pinctrl-names:
    required: true

  "#io-channel-cells":
    const: 1

  clocks:
    required: true

  ti,clk-range:
    type: int
    required: true
    enum: [0, 1, 2, 3, 4, 5, 6, 7]
    description: |
      0 - MSP_ADC_CLOCK_RANGE_1TO4
      1 - MSP_ADC_CLOCK_RANGE_4TO8
      2 - MSP_ADC_CLOCK_RANGE_8TO16
      3 - MSP_ADC_CLOCK_RANGE_16TO20
      4 - MSP_ADC_CLOCK_RANGE_20TO24
      5 - MSP_ADC_CLOCK_RANGE_24TO32
      6 - MSP_ADC_CLOCK_RANGE_32TO40
      7 - MSP_ADC_CLOCK_RANGE_40TO48
      ADC clock range.

  ti,clk-divider:
    type: int
    required: true
    enum:
      - 1 # clock is not divided
      - 2
      - 4
      - 8
      - 16
      - 24
      - 32
      - 48

  auto_powerdown:
    type: boolean

  vref-mv:
    type: int
    default: 2500
    description: Voltage reference in mV

  vref:
    type: phandle

  max_result_reg:
    type: int
    required: true
    description: |
      Number of conversion result memory registers available on this ADC instance.
      L-series devices typically have 4 registers (MEMRES0:3), while G-series
      devices typically have 12 registers (MEMRES0:11). This determines the
      maximum number of channels that can be converted in a single sequence.

io-channel-cells:
  - input
```

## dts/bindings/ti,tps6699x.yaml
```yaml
# Copyright 2026 The ChromiumOS Authors
# Use of this source code is governed by a BSD-style license that can be
# found in the LICENSE file.

description: TI TPS6699X Power Delivery Controller

compatible: "ti,tps6699x"

include: [i2c-device.yaml]

properties:
  irq-gpios:
    type: phandle-array
    description: GPIO connected to the interrupt line
```

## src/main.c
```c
/* Copyright 2025 The ChromiumOS Authors
 * Use of this source code is governed by a BSD-style license that can be
 * found in the LICENSE file.
 */

#include "adc.h"
#include "led.h"
#include "usb_init.h"

#ifdef CONFIG_MAUI_HEALTH
#include "health.h"
#endif
#ifdef CONFIG_MAUI_NVS_STORAGE
#include "nvs_storage.h"
#endif
#ifdef CONFIG_MAUI_RPC
#include "rpc/rpc.h"
#endif

#include <zephyr/device.h>
#include <zephyr/drivers/gpio.h>
#include <zephyr/kernel.h>
#include <zephyr/logging/log.h>

LOG_MODULE_REGISTER(main, LOG_LEVEL_INF);

/* 1000 msec = 1 sec */
#define SLEEP_TIME_MS 1000

int main(void)
{
	int ret;

	LOG_INF("Maui Firmware Starting");

#ifdef CONFIG_MAUI_NVS_STORAGE
	(void)nvs_storage_init();
#endif
#ifdef CONFIG_MAUI_HEALTH
	(void)health_init();
#endif

	ret = leds_init();
	if (ret < 0) {
		LOG_ERR("Failed to initialize LEDs (err %d)", ret);
		led_set_pattern(LED_GREEN, LED_PATTERN_BLINK_FAST);
	}

	ret = adcs_init();
	if (ret < 0) {
		LOG_ERR("Failed to initialize ADCs (err %d)", ret);
		led_set_pattern(LED_GREEN, LED_PATTERN_BLINK_FAST);
	}

	ret = init_usb();
	if (ret < 0) {
		LOG_ERR("Failed to initialize USB (err %d)", ret);
		led_set_pattern(LED_GREEN, LED_PATTERN_BLINK_FAST);
	}

#ifdef CONFIG_MAUI_RPC
	ret = rpc_init();
	if (ret < 0) {
		LOG_ERR("Failed to initialize RPC (err %d)", ret);
	}
#endif

	LOG_INF("Maui Firmware Initialized Successfully");

	/*
	 * Nothing further to do on this thread. Everything runs from its own
	 * thread or workqueue from here, and Zephyr is happy for main() to
	 * return.
	 */
	return 0;
}
```

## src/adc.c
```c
/* Copyright 2026 The ChromiumOS Authors
 * Use of this source code is governed by a BSD-style license that can be
 * found in the LICENSE file.
 */

#include "adc.h"

#include <errno.h>
#include <stdbool.h>
#include <stdlib.h>
#include <string.h>

#include <zephyr/devicetree.h>
#include <zephyr/drivers/adc.h>
#include <zephyr/drivers/sensor.h>
#include <zephyr/kernel.h>
#include <zephyr/shell/shell.h>

#ifdef CONFIG_BOARD_MAUI_V2P0_IT82002
#include "gpio.h"
#endif

#if defined(CONFIG_SOC_FAMILY_TI_MSPM0) || defined(CONFIG_SOC_MSPM0G3507) || \
	defined(CONFIG_SOC_MSPM0G5117)
#include <m0p/dl_factoryregion.h>
#endif

// Datasheet for the family specifies this as <-2.1, -1.7>, with
// typical -1.8 mV/'C
#define MSPM0G350X_TSC -1.8
// Value -56 is approximation of (1.0 / MSPM0G350X_TSC * 100)
#define ONE_BY_MSPM0G350X_TSC_INT_APROX -56
// Datasheet for the family specifies this as <27, 33>, with typical 30
#define MSPM0G350X_TSTRIM 30

/*
 * Temperature sensor factory calibration reference voltage:
 * - MSPM0G3507 (Datasheet 8.13): The unit-specific calibration value
 * (TEMP_SENSE0) represents the 12-bit ADC result measured with the 3.3V VDD
 * reference (VRSEL=0h).
 * - MSPM0G5117 (Datasheet 8.14): The unit-specific calibration value
 * (TEMP_SENSE0) represents the 12-bit ADC result measured with the 1.4-V
 * internal VREF (VRSEL=2h, BUFCONFIG=1h).
 */
#if defined(CONFIG_SOC_MSPM0G5117) || defined(CONFIG_BOARD_MAUI_PROTO_5117)
#define FACTORY_TRIM_VREF_MV 1400
#else
#define FACTORY_TRIM_VREF_MV 3300
#endif

LOG_MODULE_REGISTER(adc);

#define DT_ADC_SPEC_PRESENT(node)				\
	ADC_DT_SPEC_STRUCT(DT_PARENT(DT_NODELABEL(node)),	\
	DT_PROP_BY_IDX(DT_NODELABEL(node), reg, 0))

#define DT_ADC_SPEC_ABSENT(node) { 0 }

#define DT_ADC_NODE_FROM_NODELABEL(node)				\
		COND_CODE_1(DT_NODE_EXISTS(DT_NODELABEL(node)),		\
			(DT_ADC_SPEC_PRESENT),				\
			(DT_ADC_SPEC_ABSENT))(node)

static const struct adc_dt_spec adc_channels[] = {
	[ADC_CH_USB_HOST_CC1] = DT_ADC_NODE_FROM_NODELABEL(adc_usb_host_cc1),
	[ADC_CH_USB_HOST_CC2] = DT_ADC_NODE_FROM_NODELABEL(adc_usb_host_cc2),
	[ADC_CH_TEMP_SENSOR] = DT_ADC_NODE_FROM_NODELABEL(adc_temp_sensor),
	[ADC_CH_SBU1_DET] = DT_ADC_NODE_FROM_NODELABEL(adc_sbu1_det),
	[ADC_CH_SBU2_DET] = DT_ADC_NODE_FROM_NODELABEL(adc_sbu2_det),
	[ADC_CH_BSL] = DT_ADC_NODE_FROM_NODELABEL(adc_bsl),
	[ADC_CH_PPVAR_USB_CHG_VBUS] =
		DT_ADC_NODE_FROM_NODELABEL(adc_ppvar_usb_chg_vbus),
	[ADC_CH_PPVAR_USB_DUT_VBUS] =
		DT_ADC_NODE_FROM_NODELABEL(adc_ppvar_usb_dut_vbus),
	[ADC_CH_PP5000_USB_HOST_VBUS] =
		DT_ADC_NODE_FROM_NODELABEL(adc_pp5000_usb_host_vbus),
	[ADC_CH_PP5000_USB_FLASH_VBUS] =
		DT_ADC_NODE_FROM_NODELABEL(adc_pp5000_usb_flash_vbus),
	[ADC_CH_PP5000] = DT_ADC_NODE_FROM_NODELABEL(adc_pp5000),
};

/*
 * A channel is "present" only if the board's adc.dtsi declares a node for it.
 * DT_ADC_NODE_FROM_NODELABEL() expands to {0} when it does not, leaving a NULL
 * device. Boards intentionally populate different subsets of enum adc_type:
 * the IT82002 has no BSL strap and measures temperature over I2C, so it wires
 * up 8 of the 10 logical channels.
 */
static bool adc_ch_present(enum adc_type ch)
{
#ifdef CONFIG_BOARD_MAUI_V2P0_IT82002
	if (ch == ADC_CH_PP5000) {
		return true;
	}
#endif

	return ch < ADC_CH_COUNT && adc_channels[ch].dev != NULL;
}

static const char *adc_channel_name(enum adc_type ch)
{
	switch (ch) {
	case ADC_CH_USB_HOST_CC1:
		return "USB_HOST_CC1";
	case ADC_CH_USB_HOST_CC2:
		return "USB_HOST_CC2";
	case ADC_CH_TEMP_SENSOR:
		return "TEMP_SENSOR";
	case ADC_CH_SBU1_DET:
		return "SBU1_DET";
	case ADC_CH_SBU2_DET:
		return "SBU2_DET";
	case ADC_CH_BSL:
		return "BSL";
	case ADC_CH_PPVAR_USB_CHG_VBUS:
		return "PPVAR_USB_CHG_VBUS";
	case ADC_CH_PPVAR_USB_DUT_VBUS:
		return "PPVAR_USB_DUT_VBUS";
	case ADC_CH_PP5000_USB_HOST_VBUS:
		return "PP5000_USB_HOST_VBUS";
	case ADC_CH_PP5000_USB_FLASH_VBUS:
		return "PP5000_USB_FLASH_VBUS";
	case ADC_CH_PP5000:
		return "PP5000";
	default:
		return "[INVALID]";
	}
}

int adcs_init(void)
{
	unsigned int present = 0;
	unsigned int ready = 0;
	int err;

	for (unsigned int a = 0; a < ADC_CH_COUNT; a++) {
		if (!adc_ch_present(a)) {
			/* Expected on boards that do not wire this signal. */
			LOG_DBG("Channel %s not present on this board",
				adc_channel_name(a));
			continue;
		}
		present++;

		LOG_DBG("Initializing ADC channel %s", adc_channel_name(a));

#ifdef CONFIG_BOARD_MAUI_V2P0_IT82002
		if (a == ADC_CH_PP5000) {
			// This channel is calculated from GPIO logic value
			ready++;
			continue;
		}
#endif

		if (!adc_is_ready_dt(&adc_channels[a])) {
			LOG_ERR("ADC controller for channel %s is not ready",
				adc_channel_name(a));
			continue;
		}

		err = adc_channel_setup_dt(&adc_channels[a]);
		if (err < 0) {
			LOG_ERR("Could not setup channel %s (%d)",
				adc_channel_name(a), err);
			continue;
		}
		ready++;
	}

	LOG_INF("Initialized %u/%u ADC channels", ready, present);

	/* Only channels this board actually declares count as failures. */
	return (ready == present) ? 0 : -EIO;
}

/*
 * Voltage divider for USB VBUS channels:
 * VBUS -> 100k (R_top) -> ADC pin -> 12k (R_bot) -> GND
 * V_VBUS = V_ADC * (100k + 12k) / 12k
 */
#define VBUS_DIVIDER_R_TOP_KOHM 100
#define VBUS_DIVIDER_R_BOT_KOHM 12

int adc_ch_read(enum adc_type ch)
{
	int err;
	uint16_t buf;
	int32_t val_mv;

	if (!adc_ch_present(ch)) {
		return -ENOTSUP;
	}

#ifdef CONFIG_BOARD_MAUI_V2P0_IT82002
	if (ch == ADC_CH_PP5000) {
		int val = gpio_get(GPIO_EC_ADC_PP5000);
		if (val < 0) {
			return val;
		}

		// Convert 0/1 to 0mV/5000mV
		return val * 5000;
	}
#endif

	struct adc_sequence sequence = {
		.buffer = &buf,
		.buffer_size = sizeof(buf),
	};

	err = adc_sequence_init_dt(&adc_channels[ch], &sequence);
	if (err < 0) {
		LOG_ERR("Couldn't initialize sequence for ADC channel: %s",
			adc_channel_name(ch));
		return err;
	}

	err = adc_read_dt(&adc_channels[ch], &sequence);
	if (err < 0) {
		LOG_ERR("Couldn't read value of ADC channel: %s",
			adc_channel_name(ch));
		return err;
	}

	val_mv = (int32_t)buf;
	err = adc_raw_to_millivolts_dt(&adc_channels[ch], &val_mv);
	if (err < 0) {
		LOG_ERR("Couldn't convert value of ADC channel: %s",
			adc_channel_name(ch));
		return err;
	}

	if (ch == ADC_CH_PPVAR_USB_CHG_VBUS ||
	    ch == ADC_CH_PPVAR_USB_DUT_VBUS) {
		val_mv = (val_mv * (VBUS_DIVIDER_R_TOP_KOHM +
				    VBUS_DIVIDER_R_BOT_KOHM) +
			  (VBUS_DIVIDER_R_BOT_KOHM / 2)) /
			 VBUS_DIVIDER_R_BOT_KOHM;
	}

	return val_mv;
}

static int cmd_status(const struct shell *sh, size_t argc, char **argv)
{
	ARG_UNUSED(argc);
	ARG_UNUSED(argv);

	shell_print(sh, "ADC values:");
	for (unsigned int a = 0; a < ADC_CH_COUNT; a++) {
		int mv;

		if (!adc_ch_present(a)) {
			continue;
		}

		mv = adc_ch_read(a);
		if (mv < 0) {
			shell_print(sh, "[%21s] = error (%d)",
				    adc_channel_name(a), mv);
		} else {
			shell_print(sh, "[%21s] =% 6d mV", adc_channel_name(a),
				    mv);
		}
	}

	return 0;
}

static int cmd_read(const struct shell *sh, size_t argc, char **argv)
{
	if (argc != 2) {
		shell_print(sh, "Usage: adc read <channel_name>");
		shell_print(sh, "Available channels:");
		for (unsigned int a = 0; a < ADC_CH_COUNT; a++) {
			if (adc_ch_present(a)) {
				shell_print(sh, "- %s", adc_channel_name(a));
			}
		}

		return -EINVAL;
	}

	for (unsigned int a = 0; a < ADC_CH_COUNT; a++) {
		int mv;

		if (!adc_ch_present(a) ||
		    strcmp(adc_channel_name(a), argv[1]) != 0) {
			continue;
		}

		mv = adc_ch_read(a);
		if (mv < 0) {
			shell_error(sh, "Failed to read %s (%d)",
				    adc_channel_name(a), mv);
			return mv;
		}

		shell_print(sh, "[%s] = %d mV", adc_channel_name(a), mv);

		return 0;
	}

	shell_error(sh, "Unknown channel '%s' (not available on this board)",
		    argv[1]);
	return -EINVAL;
}

static int cmd_temp(const struct shell *sh, size_t argc, char **argv)
{
#if DT_HAS_ALIAS(temp_sensor) && IS_ENABLED(CONFIG_SENSOR)
	const struct device *dev = DEVICE_DT_GET(DT_ALIAS(temp_sensor));
	struct sensor_value val;
	int rc;

	if (!device_is_ready(dev)) {
		shell_error(sh, "Temperature sensor device %s is not ready",
			    dev->name);
		return -ENODEV;
	}

	rc = sensor_sample_fetch(dev);
	if (rc < 0) {
		shell_error(sh, "Failed to fetch sample from %s (%d)",
			    dev->name, rc);
		return rc;
	}

	rc = sensor_channel_get(dev, SENSOR_CHAN_AMBIENT_TEMP, &val);
	if (rc < 0) {
		shell_error(sh, "Failed to get ambient temp from %s (%d)",
			    dev->name, rc);
		return rc;
	}

	shell_print(sh, "Temperature = %d.%02d 'C", val.val1,
		    abs(val.val2) / 10000);
	return 0;
#elif defined(CONFIG_SOC_FAMILY_TI_MSPM0) || defined(CONFIG_SOC_MSPM0G3507) || \
	defined(CONFIG_SOC_MSPM0G5117)
	int mv = adc_ch_read(ADC_CH_TEMP_SENSOR);
	int sense0 = DL_FactoryRegion_getTemperatureVoltage();

#ifdef CONFIG_REQUIRES_FLOAT_PRINTF
	float vTrim = ((float)FACTORY_TRIM_VREF_MV / 1000.0f / 4096.0f) *
		      ((float)sense0 - 0.5f);
	float temp =
		(1.0f / (MSPM0G350X_TSC / 1000.0f)) * (mv / 1000.0f - vTrim) +
		MSPM0G350X_TSTRIM;
	shell_print(sh, "Temperature = %f 'C", (float)temp);
#else
	// The calculations are done in 1/100 of mV
	int vTrim = (sense0 * 10 - 5) * (FACTORY_TRIM_VREF_MV * 10) / 4096;
	int temp = ONE_BY_MSPM0G350X_TSC_INT_APROX * (mv * 100 - vTrim) / 100 +
		   MSPM0G350X_TSTRIM * 100;

	shell_print(sh, "Temperature = %d.%02d 'C", temp / 100, temp % 100);
#endif
	return 0;
#else
	shell_error(sh, "No temperature sensor configured");
	return -ENOTSUP;
#endif
}

SHELL_STATIC_SUBCMD_SET_CREATE(sub_adc_cmds,
			       SHELL_CMD(status, NULL, "Read all ADC channels",
					 cmd_status),
			       SHELL_CMD(read, NULL, "Read one channel",
					 cmd_read),
			       SHELL_SUBCMD_SET_END);

SHELL_CMD_REGISTER(adc, &sub_adc_cmds, "Commands to manipulate ADC", NULL);
SHELL_CMD_REGISTER(temp, NULL, "Read internal temperature sensor", cmd_temp);
```

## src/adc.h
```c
/* Copyright 2026 The ChromiumOS Authors
 * Use of this source code is governed by a BSD-style license that can be
 * found in the LICENSE file.
 */

#ifndef ADC_H_
#define ADC_H_

/**
 * Logical ADC channels, as the union of every channel any Maui board exposes.
 *
 * A given board only wires up a subset: it declares the ones it has in its
 * boards/<board>/adc.dtsi, and the rest are simply absent. For example the
 * IT82002 build has no BSL strap and reads temperature from an I2C TMP110, so
 * ADC_CH_BSL and ADC_CH_TEMP_SENSOR do not exist there. Reading an absent
 * channel returns -ENOTSUP, and the shell hides it.
 */
enum adc_type {
	ADC_CH_USB_HOST_CC1 = 0,
	ADC_CH_USB_HOST_CC2,
	ADC_CH_TEMP_SENSOR,
	ADC_CH_SBU1_DET,
	ADC_CH_SBU2_DET,
	ADC_CH_BSL,
	ADC_CH_PPVAR_USB_CHG_VBUS,
	ADC_CH_PPVAR_USB_DUT_VBUS,
	ADC_CH_PP5000_USB_HOST_VBUS,
	ADC_CH_PP5000_USB_FLASH_VBUS,
	ADC_CH_PP5000,

	ADC_CH_COUNT
};

/**
 * @brief Set up every ADC channel this board declares.
 *
 * Channels the board does not declare are skipped silently; they are a board
 * property, not a failure.
 *
 * @return 0 if every declared channel was set up, -EIO if any of them failed.
 */
int adcs_init(void);

/**
 * @brief Read voltage on specified ADC channel
 *
 * @param ch ADC channel that should be measured
 * @return Value in millivolts, -ENOTSUP if the channel does not exist on this
 *         board, or another negative errno on failure.
 */
int adc_ch_read(enum adc_type ch);

#endif /* ADC_H_ */
```

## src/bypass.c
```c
/* Copyright 2026 The ChromiumOS Authors
 * Use of this source code is governed by a BSD-style license that can be
 * found in the LICENSE file.
 */

#include "bypass.h"
#include "gpio.h"
#include "hwrev.h"

#include <zephyr/logging/log.h>

LOG_MODULE_REGISTER(bypass);

#define BYPASS_HWREV_MIN_REQUIRED 1

#define USB2_MUX_DUT_SEL_DIRECT 1
#define USB2_MUX_DUT_SEL_H2H 0

#define USB3_MUX_DUT_SEL_DIRECT 0
#define USB3_MUX_DUT_SEL_H2H 1

#define USB2_MUX_HUB_SEL_DIRECT 1
#define USB2_MUX_HUB_SEL_H2H 0

#define USB3_MUX_HUB_SEL_DIRECT 1
#define USB3_MUX_HUB_SEL_H2H 0

void bypass_set_mode(enum bypass_mode_t mode)
{
	if (hwrev_read() < BYPASS_HWREV_MIN_REQUIRED) {
		if (mode != BYPASS_MODE_H2H) {
			LOG_ERR("Bypass not supported on this maui revision");
		}

		return;
	}

	int output_enable = (mode != BYPASS_MODE_DISCONNECTED);

	if (mode == BYPASS_MODE_DIRECT) {
		gpio_set(GPIO_USB2_MUX_DUT_SEL_R, USB2_MUX_DUT_SEL_DIRECT);
		gpio_set(GPIO_USB3_MUX_DUT_SEL_R, USB3_MUX_DUT_SEL_DIRECT);

		gpio_set(GPIO_USB2_MUX_HUB_SEL, USB2_MUX_HUB_SEL_DIRECT);
		gpio_set(GPIO_USB3_MUX_HUB_SEL, USB3_MUX_HUB_SEL_DIRECT);

		LOG_INF("Mux set to Direct Device Mode");
	} else if (mode == BYPASS_MODE_H2H) {
		gpio_set(GPIO_USB2_MUX_DUT_SEL_R, USB2_MUX_DUT_SEL_H2H);
		gpio_set(GPIO_USB3_MUX_DUT_SEL_R, USB3_MUX_DUT_SEL_H2H);

		gpio_set(GPIO_USB2_MUX_HUB_SEL, USB2_MUX_HUB_SEL_H2H);
		gpio_set(GPIO_USB3_MUX_HUB_SEL, USB3_MUX_HUB_SEL_H2H);

		LOG_INF("Mux set to Host-to-Host Bridge Mode");
	} else {
		LOG_INF("Mux disconnected");
	}

	gpio_set(GPIO_USB2_MUX_DUT_OE_R_L, output_enable);
	gpio_set(GPIO_USB3_MUX_DUT_OE_R_L, output_enable);
	gpio_set(GPIO_USB2_MUX_HUB_OE_L, output_enable);
	gpio_set(GPIO_USB3_MUX_HUB_OE_L, output_enable);
}
```

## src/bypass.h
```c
/* Copyright 2026 The ChromiumOS Authors
 * Use of this source code is governed by a BSD-style license that can be
 * found in the LICENSE file.
 */

#ifndef BYPASS_H_
#define BYPASS_H_

enum bypass_mode_t {
	/// Disable the output-enable
	BYPASS_MODE_DISCONNECTED,
	/// Bypass the H2H chip and enable direct connection
	BYPASS_MODE_DIRECT,
	/// Connect devices through H2H chip
	BYPASS_MODE_H2H,
};

/**
 * Change bypass direction on supported revisions.
 * On unsupported revisions, it keeps silent for h2h mode
 * or prints error message for other modes.
 *
 * @param mode Mode to be set for bypass
 */
void bypass_set_mode(enum bypass_mode_t mode);

#endif /* BYPASS_H_ */
```

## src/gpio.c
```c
/* Copyright 2026 The ChromiumOS Authors
 * Use of this source code is governed by a BSD-style license that can be
 * found in the LICENSE file.
 */

#include <zephyr/device.h>
#include <zephyr/devicetree.h>
#include <zephyr/drivers/gpio.h>
#include <zephyr/kernel.h>
#include <zephyr/logging/log.h>
#include <zephyr/shell/shell.h>
#include "gpio.h"

LOG_MODULE_REGISTER(gpio);

#define DT_DRV_COMPAT google_maui_gpios

#if DT_NUM_INST_STATUS_OKAY(DT_DRV_COMPAT) != 1
#error Invalid number of google,maui-sbu-mux instances
#endif

struct gpio_dt_spec_ext {
	/** GPIO device controlling the pin */
	const struct device *port;
	/** The pin's number on the device */
	gpio_pin_t pin;
	/** The pin's configuration flags as specified in devicetree */
	gpio_flags_t flags;
	/** Pin name used with shell commands */
	const char *name;
	/** Buffered value set for output pin */
	int value;
};

#define GPIO_DT_SPEC_EXT_GET_BY_IDX(node_id)                                   \
	[GPIO_NAME_TO_ENUM(DT_NODE_FULL_NAME_UPPER_TOKEN(node_id))] = {        \
		.port = DEVICE_DT_GET(DT_GPIO_CTLR_BY_IDX(node_id, gpios, 0)), \
		.pin = DT_GPIO_PIN_BY_IDX(node_id, gpios, 0),                  \
		.flags = DT_GPIO_FLAGS_BY_IDX(node_id, gpios, 0),              \
		.name = DT_NODE_FULL_NAME(node_id),                            \
		.value = 0,                                                    \
	}

#define GPIO_DT_SPEC_EXT_GET_BY_IDX_WITH_COMMA(node) \
	GPIO_DT_SPEC_EXT_GET_BY_IDX(node),

#define ALL_CHILDREN(idx) DT_FOREACH_CHILD(DT_DRV_INST(idx), \
	GPIO_DT_SPEC_EXT_GET_BY_IDX_WITH_COMMA)

static struct gpio_dt_spec_ext drv_gpios[] = {
	DT_INST_FOREACH_STATUS_OKAY(ALL_CHILDREN)
};

const char *gpio_get_name(enum gpio_t gpio_id)
{
	return drv_gpios[gpio_id].name;
}

int gpio_get_init_flags(enum gpio_t gpio_id)
{
	return drv_gpios[gpio_id].flags;
}

int gpio_get(enum gpio_t gpio_id)
{
	struct gpio_dt_spec_ext *gp = &drv_gpios[gpio_id];

	if (gp->flags & GPIO_INPUT)
		return gpio_pin_get(gp->port, gp->pin);
	else if (gp->flags & GPIO_OUTPUT)
		return gp->value;
	else
		return -EIO;
}

int gpio_set(enum gpio_t gpio_id, int val)
{
	struct gpio_dt_spec_ext *gp = &drv_gpios[gpio_id];
	int rv;

	if (!(gp->flags & GPIO_OUTPUT))
		return -EINVAL;

	rv = gpio_pin_set(gp->port, gp->pin, val);
	if (rv < 0)
		return rv;

	LOG_DBG("GPIO %s set to %d", gp->name, val);
	gp->value = val;

	return 0;
}


static int gpios_init(const struct device *dev)
{
	int rv;

	for (unsigned a = 0; a < ARRAY_SIZE(drv_gpios); a++) {
		struct gpio_dt_spec_ext *gp = &drv_gpios[a];

		LOG_DBG("Configuring GPIO: %s", gp->name);
		rv = gpio_pin_configure(gp->port, gp->pin, gp->flags);

		if (rv < 0)
			LOG_ERR("Couldn't configure GPIO: %s", gp->name);

		if (gp->flags & GPIO_OUTPUT) {
			gp->value = !!(gp->flags & GPIO_OUTPUT_INIT_HIGH);
			if ((gp->flags &
			     (GPIO_ACTIVE_LOW | GPIO_OUTPUT_INIT_LOGICAL)) ==
			    GPIO_ACTIVE_LOW)
				gp->value = !gp->value;
		}
	}

	LOG_INF("Initialized GPIOs");
	return 0;
}

DEVICE_DT_INST_DEFINE(0, gpios_init, NULL, NULL, NULL, POST_KERNEL,
		      CONFIG_GPIO_INIT_PRIORITY, NULL);
```

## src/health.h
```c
/* Copyright 2026 The ChromiumOS Authors
 * Use of this source code is governed by a BSD-style license that can be
 * found in the LICENSE file.
 */

#ifndef HEALTH_H_
#define HEALTH_H_

#include <stdint.h>

/* BBRAM Offsets */
#define BBRAM_OFFSET_BOOT_TARGET 0
#define BBRAM_OFFSET_CRASHLOOP_CNT 4
#define BBRAM_OFFSET_TEST_MAGIC 8

/* Boot Target Magic Constants */
enum boot_target_t {
	BOOT_TARGET_NORMAL = 0x00000000UL,
	BOOT_TARGET_FORCE_RO = 0x524F4254UL, /* 'ROBT' */
	BOOT_TARGET_FORCE_RW_RECOVERY = 0x52574254UL, /* 'RWBT' */
};

#define ETWD_BBRAM_TEST_MAGIC 0xCAFEBABEUL

/**
 * Initialize OS Health & Crashloop Monitoring subsystem.
 * Schedules a 2.0-second delayable work timer that resets the BBRAM
 * crashloop counter once the Main Application is confirmed stable.
 */
int health_init(void);

/**
 * Reboot the EC into a specified boot target (Normal, RW Bootloader Recovery,
 * or RO Root Bootloader Recovery).
 * On IT82002 this triggers an External Timer Watchdog (ETWD) hardware reset.
 * Being an EC-domain reset it clears the EWPRxPF* flash write-protect
 * registers, and - measured on silicon, contradicting the datasheet, which
 * claims a power-on reset is required - it also clears GCTRL_EPLR. That is
 * what makes freezing EPLR safe: any reset returns the chip to a programmable
 * state, so reflashing never needs a power cycle.
 */
int health_reboot_to(enum boot_target_t target);

#endif /* HEALTH_H_ */
```
